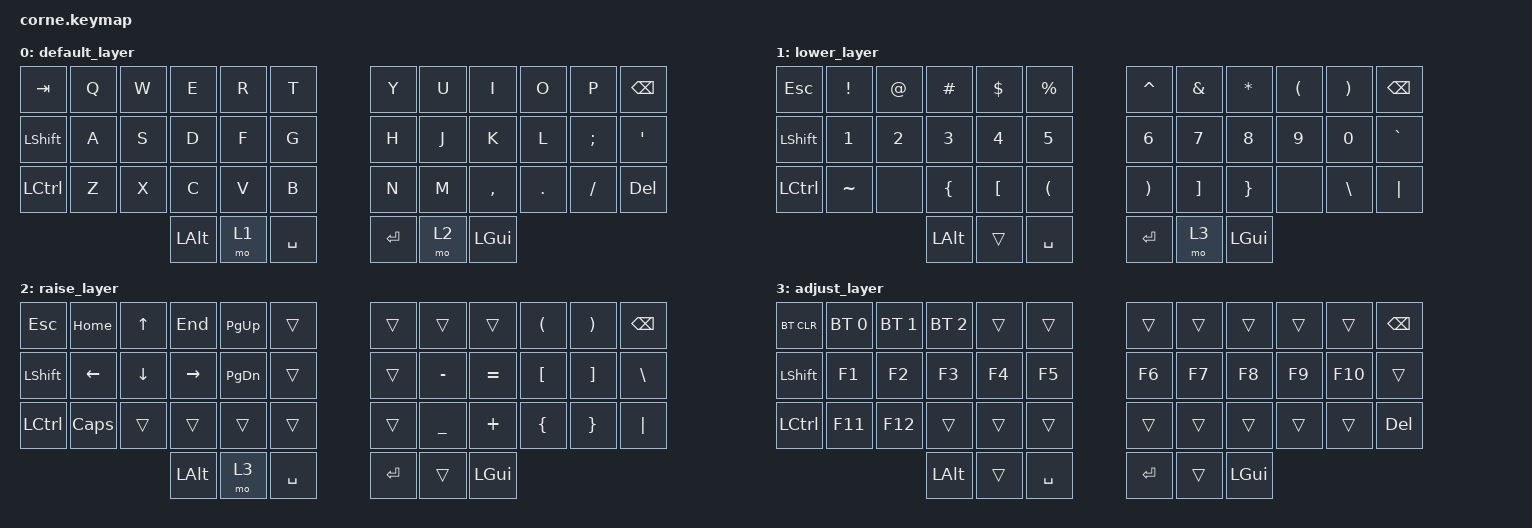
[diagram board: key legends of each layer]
/*
 * Copyright (c) 2020 The ZMK Contributors
 *
 * SPDX-License-Identifier: MIT
 */

#include <behaviors.dtsi>
#include <dt-bindings/zmk/keys.h>
#include <dt-bindings/zmk/bt.h>

/ {
        keymap {
                compatible = "zmk,keymap";

                default_layer {
// -----------------------------------------------------------------------------------------
// |  TAB |  Q  |  W  |  E  |  R  |  T  |   |  Y  |  U   |  I  |  O  |  P  | BKSP |
// | SHFT |  A  |  S  |  D  |  F  |  G  |   |  H  |  J   |  K  |  L  |  ;  |  '   |
// | CTRL |  Z  |  X  |  C  |  V  |  B  |   |  N  |  M   |  ,  |  .  |  /  | DEL  |
//                    | ALT | LWR | SPC |   | ENT | RSE  | GUI |
                        bindings = <
   &kp TAB   &kp Q &kp W &kp E    &kp R   &kp T     &kp Y   &kp U  &kp I     &kp O   &kp P    &kp BSPC
   &kp LSHFT &kp A &kp S &kp D    &kp F   &kp G     &kp H   &kp J  &kp K     &kp L   &kp SEMI &kp SQT
   &kp LCTRL &kp Z &kp X &kp C    &kp V   &kp B     &kp N   &kp M  &kp COMMA &kp DOT &kp FSLH &kp DEL
                         &kp LALT &mo 1   &kp SPACE &kp RET &mo 2  &kp LGUI
                        >;
                };
                lower_layer {
// -----------------------------------------------------------------------------------------
// | ESC  |  !  |  @  |  #  |  $  |  %  |   |  ^  |  &  |  *  |  (  |  )  | BKSP |
// | SHFT |  1  |  2  |  3  |  4  |  5  |   |  6  |  7  |  8  |  9  |  0  |  `   |
// | CTRL |  ~  |     |  {  |  [  |  (  |   |  )  |  ]  |  }  |     |  \  | "|"  |
//                    | ALT |     | SPC |   | ENT |     | GUI | 
                        bindings = <
   &kp ESC   &kp EXCL  &kp AT  &kp HASH  &kp DLLR   &kp PRCNT   &kp CARET &kp AMPS  &kp ASTRK &kp LPAR   &kp RPAR &kp BSPC
   &kp LSHFT &kp N1    &kp N2  &kp N3    &kp N4     &kp N5      &kp N6    &kp N7    &kp N8    &kp N9     &kp N0   &kp GRAVE
   &kp LCTRL &kp TILDE &none   &kp LBRC  &kp LBKT   &kp LPAR    &kp RPAR  &kp RBKT  &kp RBRC  &none      &kp BSLH &kp PIPE
                               &kp LALT  &trans     &kp SPACE   &kp RET   &mo 3     &kp LGUI
                        >;
                };

                raise_layer {
// -----------------------------------------------------------------------------------------
// |  ESC | HOME | UP 	| END   | PG_UP |     |   |     |     |     |  (  |  )  | BKSP |
// | SHFT | LEFT | DOWN | RIGHT | PG_DN |     |   |     |  -  |  =  |  [  |  ]  |  \   | 
// | CTRL | CAPS |      |       |       |     |   |     |  _  |  +  |  {  |  }  | "|"  |
//                      | ALT   |       | SPC |   | ENT |     | GUI |
                        bindings = <
   &kp  ESC  &kp HOME &kp UP   &kp END   &kp PG_UP  &trans    &trans  &trans    &trans    &kp LPAR &kp RPAR &kp BSPC
   &kp LSHFT &kp LEFT &kp DOWN &kp RIGHT &kp PG_DN  &trans    &trans  &kp MINUS &kp EQUAL &kp LBKT &kp RBKT &kp BSLH
   &kp LCTRL &kp CAPS &trans   &trans    &trans     &trans    &trans  &kp UNDER &kp PLUS  &kp LBRC &kp RBRC &kp PIPE
                               &kp LALT  &mo 3      &kp SPACE &kp RET &trans    &kp LGUI
                        >;
                };
				
		adjust_layer {
// -----------------------------------------------------------------------------------------
// | BT_CLR |  BT_0    |  BT_1    | BT_3 |     |     |    |     |     |     |     |     | BKSP |
// | SHFT   |  F1      |  F2      | F3   | F4  | F5  |    | F6  | F7  | F8  | F9  | F10 |      |
// | CTRL   |  F11     |  F12     |      |     |     |    |     |     |     |     |     | DEL  |
//                                | ALT  |     | SPC |    | ENT |     | GUI |
                        bindings = <
   &bt BT_CLR &bt BT_SEL 0  &bt BT_SEL 1  &bt BT_SEL 2 &trans    &trans      &trans    &trans    &trans    &trans   &trans   &kp BSPC
   &kp LSHFT  &kp F1        &kp F2        &kp F3       &kp F4    &kp F5      &kp F6    &kp F7    &kp F8    &kp F9   &kp F10  &trans
   &kp LCTRL  &kp F11       &kp F12       &trans       &trans    &trans      &trans    &trans    &trans    &trans   &trans   &kp DEL
                                          &kp LALT     &trans    &kp SPACE   &kp RET   &trans    &kp LGUI
                        >;
                };
        };
};
